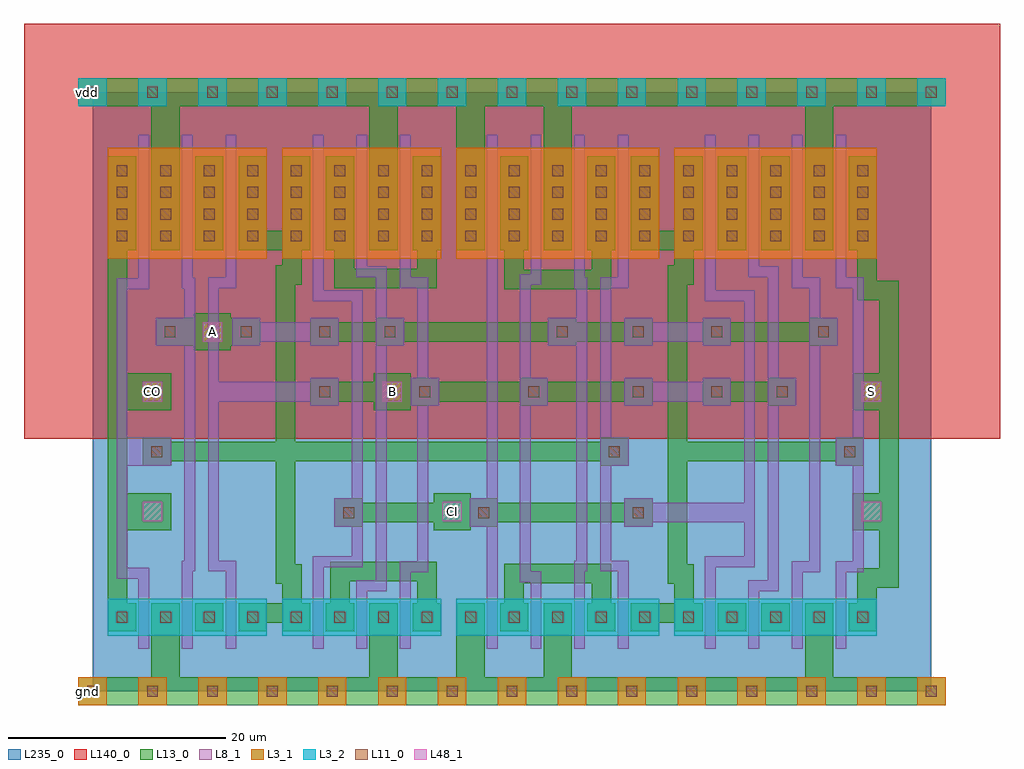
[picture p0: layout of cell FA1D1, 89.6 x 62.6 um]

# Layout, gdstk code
import gdstk
lib = gdstk.Library(unit=1e-6, precision=1e-09)
def R(c, l, rs):  # rectangles x0, y0, x1, y1
    for r in rs: c.add(gdstk.rectangle(r[:2], r[2:], *l))
def A(c, l, x, y, w, h, nx, ny, dx, dy):  # array of equal rectangles
    R(c, l, [(x+i*dx, y+j*dy, x+i*dx+w, y+j*dy+h) for i in range(nx) for j in range(ny)])
L3_1 = (3, 1)
L3_2 = (3, 2)
L8_1 = (8, 1)
L11_0 = (11, 0)
L13_0 = (13, 0)
L48_1 = (48, 1)
L140_0 = (140, 0)
L235_0 = (235, 0)

cont_n = lib.new_cell('cont_n')
R(cont_n, L3_2, [(-1.3,-1.3,1.3,1.3)])
R(cont_n, L11_0, [(-0.5,-0.5,0.5,0.5)])
R(cont_n, L13_0, [(-1.3,-1.3,1.3,1.3)])

cont_p = lib.new_cell('cont_p')
R(cont_p, L3_1, [(-1.3,-1.3,1.3,1.3)])
R(cont_p, L11_0, [(-0.5,-0.5,0.5,0.5)])
R(cont_p, L13_0, [(-1.3,-1.3,1.3,1.3)])

fet_n = lib.new_cell('fet_n')
R(fet_n, L3_2, [(-7.3,-1.7,7.3,1.7)])
A(fet_n, L11_0, -6.5, -0.5, 1, 1, 4, 1, 4, 0)
A(fet_n, L13_0, -7.3, -1.3, 2.6, 2.6, 4, 1, 4, 0)
fet_n.add(gdstk.FlexPath([(0,-2.9),(0,2.9)], 1, ends="flush", simple_path=True, layer=8, datatype=1))  # L8_1
fet_n.add(gdstk.FlexPath([(-4,-2.9),(-4,2.9)], 1, ends="flush", simple_path=True, layer=8, datatype=1))  # L8_1
fet_n.add(gdstk.FlexPath([(4,-2.9),(4,2.9)], 1, ends="flush", simple_path=True, layer=8, datatype=1))  # L8_1

cont_g = lib.new_cell('cont_g')
R(cont_g, L8_1, [(-1.3,-1.3,1.3,1.3)])
R(cont_g, L11_0, [(-0.5,-0.5,0.5,0.5)])
R(cont_g, L13_0, [(-1.3,-1.3,1.3,1.3)])

fet_p = lib.new_cell('fet_p')
R(fet_p, L3_1, [(-7.3,-5.1,7.3,5.1)])
A(fet_p, L11_0, -6.5, -3.5, 1, 1, 4, 4, 4, 2)
A(fet_p, L13_0, -7.3, -4.3, 2.6, 8.6, 4, 1, 4, 0)
fet_p.add(gdstk.FlexPath([(0,-6.3),(0,6.3)], 1, ends="flush", simple_path=True, layer=8, datatype=1))  # L8_1
fet_p.add(gdstk.FlexPath([(-4,-6.3),(-4,6.3)], 1, ends="flush", simple_path=True, layer=8, datatype=1))  # L8_1
fet_p.add(gdstk.FlexPath([(4,-6.3),(4,6.3)], 1, ends="flush", simple_path=True, layer=8, datatype=1))  # L8_1

fet_p_5 = lib.new_cell('fet_p$5')
R(fet_p_5, L3_1, [(-9.3,-5.1,9.3,5.1)])
A(fet_p_5, L11_0, -8.5, -3.5, 1, 1, 5, 4, 4, 2)
A(fet_p_5, L13_0, -9.3, -4.3, 2.6, 8.6, 5, 1, 4, 0)
fet_p_5.add(gdstk.FlexPath([(2,-6.3),(2,6.3)], 1, ends="flush", simple_path=True, layer=8, datatype=1))  # L8_1
fet_p_5.add(gdstk.FlexPath([(-2,-6.3),(-2,6.3)], 1, ends="flush", simple_path=True, layer=8, datatype=1))  # L8_1
fet_p_5.add(gdstk.FlexPath([(6,-6.3),(6,6.3)], 1, ends="flush", simple_path=True, layer=8, datatype=1))  # L8_1
fet_p_5.add(gdstk.FlexPath([(-6,-6.3),(-6,6.3)], 1, ends="flush", simple_path=True, layer=8, datatype=1))  # L8_1

fet_n_5 = lib.new_cell('fet_n$5')
R(fet_n_5, L3_2, [(-9.3,-1.7,9.3,1.7)])
A(fet_n_5, L11_0, -8.5, -0.5, 1, 1, 5, 1, 4, 0)
A(fet_n_5, L13_0, -9.3, -1.3, 2.6, 2.6, 5, 1, 4, 0)
fet_n_5.add(gdstk.FlexPath([(2,-2.9),(2,2.9)], 1, ends="flush", simple_path=True, layer=8, datatype=1))  # L8_1
fet_n_5.add(gdstk.FlexPath([(-2,-2.9),(-2,2.9)], 1, ends="flush", simple_path=True, layer=8, datatype=1))  # L8_1
fet_n_5.add(gdstk.FlexPath([(6,-2.9),(6,2.9)], 1, ends="flush", simple_path=True, layer=8, datatype=1))  # L8_1
fet_n_5.add(gdstk.FlexPath([(-6,-2.9),(-6,2.9)], 1, ends="flush", simple_path=True, layer=8, datatype=1))  # L8_1

fa1d1 = lib.new_cell('FA1D1')
R(fa1d1, L8_1, [(3.2,20.7,4.6,23.3)])
R(fa1d1, L13_0, [(3.2,14.8,3.8,18.2), (3.8,14.8,7.2,18.2), (3.8,14.8,7.2,18.2), (31.3,14.8,34.7,18.2), (31.3,14.8,34.7,18.2), (69.8,14.8,73.2,18.2), (69.8,14.8,73.2,18.2), (3.2,25.8,3.8,29.2), (3.8,25.8,7.2,29.2), (3.8,25.8,7.2,29.2), (25.8,25.8,29.2,29.2), (25.8,25.8,29.2,29.2), (69.8,25.8,73.2,29.2), (69.8,25.8,73.2,29.2), (9.3,31.3,12.7,34.7), (9.3,31.3,12.7,34.7), (8.4,31.7,12.8,34.3)])
R(fa1d1, L48_1, [(4.6,15.6,6.4,17.4), (4.6,15.6,6.4,17.4), (32.1,15.6,33.9,17.4), (32.1,15.6,33.9,17.4), (70.6,15.6,72.4,17.4), (70.6,15.6,72.4,17.4), (4.6,26.6,6.4,28.4), (4.6,26.6,6.4,28.4), (26.6,26.6,28.4,28.4), (26.6,26.6,28.4,28.4), (70.6,26.6,72.4,28.4), (70.6,26.6,72.4,28.4), (10.1,32.1,11.9,33.9), (10.1,32.1,11.9,33.9)])
R(fa1d1, L140_0, [(-6.3,23.2,83.3,61.3)])
R(fa1d1, L235_0, [(0,0,77,55)])
fa1d1.add(gdstk.FlexPath([(8.7,38.5),(8.7,37.45),(8.9,37.45),(8.9,11.5),(8.7,11.5),(8.7,9.7)], 1, ends="extended", simple_path=True, layer=8, datatype=1))  # L8_1
fa1d1.add(gdstk.FlexPath([(12.7,38.5),(12.7,37.5),(11.1,37.5),(11.1,11.5),(12.7,11.5),(12.7,9.65)], 1, ends="extended", simple_path=True, layer=8, datatype=1))  # L8_1
fa1d1.add(gdstk.FlexPath([(20.7,38.5),(20.7,36.3),(24.3,36.3),(24.3,11.9),(20.7,11.9),(20.7,9.7)], 1, ends="extended", simple_path=True, layer=8, datatype=1))  # L8_1
fa1d1.add(gdstk.FlexPath([(24.7,38.5),(26.5,38.5),(26.5,9.7),(24.7,9.7)], 1, ends="extended", simple_path=True, layer=8, datatype=1))  # L8_1
fa1d1.add(gdstk.FlexPath([(48.7,38.5),(48.7,37.5),(47.1,37.5),(47.1,11.5),(48.7,11.5),(48.7,9.65)], 1, ends="extended", simple_path=True, layer=8, datatype=1))  # L8_1
fa1d1.add(gdstk.FlexPath([(56.7,38.5),(56.7,36.3),(60.3,36.3),(60.3,11.9),(56.7,11.9),(56.7,9.7)], 1, ends="extended", simple_path=True, layer=8, datatype=1))  # L8_1
fa1d1.add(gdstk.FlexPath([(60.7,38.5),(62.5,38.5),(62.5,9.7),(60.7,9.7)], 1, ends="extended", simple_path=True, layer=8, datatype=1))  # L8_1
fa1d1.add(gdstk.FlexPath([(64.7,38.5),(64.7,37.5),(66.3,37.5),(66.3,11.45),(64.7,11.45),(64.7,9.7)], 1, ends="extended", simple_path=True, layer=8, datatype=1))  # L8_1
fa1d1.add(gdstk.FlexPath([(68.7,38.5),(68.7,37.5),(70.3,37.5),(70.3,11.45),(68.7,11.45),(68.7,9.7)], 1, ends="extended", simple_path=True, layer=8, datatype=1))  # L8_1
fa1d1.add(gdstk.FlexPath([(44.7,38.5),(44.7,37.45),(44.9,37.45),(44.9,11.5),(44.7,11.5),(44.7,9.7)], 1, ends="extended", simple_path=True, layer=8, datatype=1))  # L8_1
fa1d1.add(gdstk.FlexPath([(14.1,33),(21.3,33)], 1.8, ends="extended", simple_path=True, layer=8, datatype=1))  # L8_1
fa1d1.add(gdstk.FlexPath([(21.3,27.5),(11.5,27.5)], 1.8, ends="extended", simple_path=True, layer=8, datatype=1))  # L8_1
fa1d1.add(gdstk.FlexPath([(50.1,33),(57.3,33)], 1.8, ends="extended", simple_path=True, layer=8, datatype=1))  # L8_1
fa1d1.add(gdstk.FlexPath([(50.1,27.5),(57.3,27.5)], 1.8, ends="extended", simple_path=True, layer=8, datatype=1))  # L8_1
fa1d1.add(gdstk.FlexPath([(36.7,38.5),(36.7,9.7)], 1, ends="extended", simple_path=True, layer=8, datatype=1))  # L8_1
fa1d1.add(gdstk.FlexPath([(40.7,38.5),(40.7,37.8),(39.7,37.8),(39.7,10.5),(40.7,10.5),(40.7,9.7)], 1, ends="extended", simple_path=True, layer=8, datatype=1))  # L8_1
fa1d1.add(gdstk.FlexPath([(50.1,16.4),(59.9,16.4)], 1.8, ends="extended", simple_path=True, layer=8, datatype=1))  # L8_1
fa1d1.add(gdstk.FlexPath([(28.7,38.5),(28.7,37.5),(30.3,37.5),(30.3,11.45),(28.7,11.45),(28.7,9.7)], 1, ends="extended", simple_path=True, layer=8, datatype=1))  # L8_1
fa1d1.add(gdstk.FlexPath([(4.7,38.5),(4.7,37.4),(2.7,37.4),(2.7,10.85),(4.7,10.85),(4.7,9.7)], 1, ends="extended", simple_path=True, layer=8, datatype=1))  # L8_1
fa1d1.add(gdstk.FlexPath([(18.3,41.75),(18.3,38.2),(17.7,38.2),(17.7,10.75),(18.3,10.75),(18.3,6.85)], 1.8, ends="extended", simple_path=True, layer=13, datatype=0))  # L13_0
fa1d1.add(gdstk.FlexPath([(14.7,41.4),(18.7,41.4)], 1.8, ends="extended", simple_path=True, layer=13, datatype=0))  # L13_0
fa1d1.add(gdstk.FlexPath([(14.7,7.2),(18.7,7.2)], 1.8, ends="extended", simple_path=True, layer=13, datatype=0))  # L13_0
fa1d1.add(gdstk.FlexPath([(34.7,47.8),(34.7,55)], 2.6, ends="extended", simple_path=True, layer=13, datatype=0))  # L13_0
fa1d1.add(gdstk.FlexPath([(34.7,6.8),(34.7,0)], 2.6, ends="extended", simple_path=True, layer=13, datatype=0))  # L13_0
fa1d1.add(gdstk.FlexPath([(38.7,41.7),(38.7,37.8),(46.7,37.8),(46.7,41.7)], 1.8, ends="extended", simple_path=True, layer=13, datatype=0))  # L13_0
fa1d1.add(gdstk.FlexPath([(38.7,6.8),(38.7,10.8),(46.7,10.8),(46.7,6.8)], 1.8, ends="extended", simple_path=True, layer=13, datatype=0))  # L13_0
fa1d1.add(gdstk.FlexPath([(50.7,41.4),(54.7,41.4)], 1.8, ends="extended", simple_path=True, layer=13, datatype=0))  # L13_0
fa1d1.add(gdstk.FlexPath([(54.3,41.8),(54.3,38.2),(53.7,38.2),(53.7,10.75),(54.3,10.75),(54.3,6.8)], 1.8, ends="extended", simple_path=True, layer=13, datatype=0))  # L13_0
fa1d1.add(gdstk.FlexPath([(50.7,7.2),(54.7,7.2)], 1.8, ends="extended", simple_path=True, layer=13, datatype=0))  # L13_0
fa1d1.add(gdstk.FlexPath([(71.1,41.8),(71.1,36.8),(73.1,36.8),(73.1,10.4),(71.1,10.4),(71.1,6.8)], 1.8, ends="extended", simple_path=True, layer=13, datatype=0))  # L13_0
fa1d1.add(gdstk.FlexPath([(66.7,47.8),(66.7,55)], 2.6, ends="extended", simple_path=True, layer=13, datatype=0))  # L13_0
fa1d1.add(gdstk.FlexPath([(66.7,6.8),(66.7,0)], 2.6, ends="extended", simple_path=True, layer=13, datatype=0))  # L13_0
fa1d1.add(gdstk.FlexPath([(5.9,22),(47.9,22)], 1.8, ends="extended", simple_path=True, layer=13, datatype=0))  # L13_0
fa1d1.add(gdstk.FlexPath([(69.5,22),(53.7,22)], 1.8, ends="extended", simple_path=True, layer=13, datatype=0))  # L13_0
fa1d1.add(gdstk.FlexPath([(42.7,47.8),(42.7,55)], 2.6, ends="extended", simple_path=True, layer=13, datatype=0))  # L13_0
fa1d1.add(gdstk.FlexPath([(42.7,6.8),(42.7,0)], 2.6, ends="extended", simple_path=True, layer=13, datatype=0))  # L13_0
fa1d1.add(gdstk.FlexPath([(23.5,16.4),(50.1,16.4)], 1.8, ends="extended", simple_path=True, layer=13, datatype=0))  # L13_0
fa1d1.add(gdstk.FlexPath([(2.3,41.75),(2.3,6.8)], 1.8, ends="extended", simple_path=True, layer=13, datatype=0))  # L13_0
fa1d1.add(gdstk.FlexPath([(0.85,55),(77,55)], 2.6, ends="extended", simple_path=True, layer=13, datatype=0))  # L13_0
fa1d1.add(gdstk.FlexPath([(0.85,0),(77,0)], 2.6, ends="extended", simple_path=True, layer=13, datatype=0))  # L13_0
fa1d1.add(gdstk.FlexPath([(21.4,33),(50.1,33)], 1.8, ends="extended", simple_path=True, layer=13, datatype=0))  # L13_0
fa1d1.add(gdstk.FlexPath([(50.1,27.5),(21.3,27.5)], 1.8, ends="extended", simple_path=True, layer=13, datatype=0))  # L13_0
fa1d1.add(gdstk.FlexPath([(57.3,27.5),(63.3,27.5)], 1.8, ends="extended", simple_path=True, layer=13, datatype=0))  # L13_0
fa1d1.add(gdstk.FlexPath([(57.3,33),(67.1,33)], 1.8, ends="extended", simple_path=True, layer=13, datatype=0))  # L13_0
fa1d1.add(gdstk.FlexPath([(26.7,47.75),(26.7,55)], 2.6, ends="extended", simple_path=True, layer=13, datatype=0))  # L13_0
fa1d1.add(gdstk.FlexPath([(26.7,6.8),(26.7,0)], 2.6, ends="extended", simple_path=True, layer=13, datatype=0))  # L13_0
fa1d1.add(gdstk.FlexPath([(23.1,41.8),(23.1,37.9),(30.7,37.9),(30.7,41.8)], 1.8, ends="extended", simple_path=True, layer=13, datatype=0))  # L13_0
fa1d1.add(gdstk.FlexPath([(22.7,6.8),(22.7,11),(30.7,11),(30.7,6.9)], 1.8, ends="extended", simple_path=True, layer=13, datatype=0))  # L13_0
fa1d1.add(gdstk.FlexPath([(6.7,47.8),(6.7,55)], 2.6, ends="extended", simple_path=True, layer=13, datatype=0))  # L13_0
fa1d1.add(gdstk.FlexPath([(6.7,6.8),(6.7,0)], 2.6, ends="extended", simple_path=True, layer=13, datatype=0))  # L13_0
fa1d1.add(gdstk.Reference(cont_n, (0,55)))
fa1d1.add(gdstk.Reference(cont_n, (5.5,55)))
fa1d1.add(gdstk.Reference(cont_n, (11,55)))
fa1d1.add(gdstk.Reference(cont_n, (16.5,55)))
fa1d1.add(gdstk.Reference(cont_p, (0,0)))
fa1d1.add(gdstk.Reference(cont_p, (5.5,0)))
fa1d1.add(gdstk.Reference(cont_p, (11,0)))
fa1d1.add(gdstk.Reference(cont_p, (16.5,0)))
fa1d1.add(gdstk.Reference(fet_n, (8.7,6.8)))
fa1d1.add(gdstk.Reference(cont_g, (63.3,27.5)))
fa1d1.add(gdstk.Reference(cont_g, (5.9,22)))
fa1d1.add(gdstk.Reference(cont_g, (30.5,27.5)))
fa1d1.add(gdstk.Reference(fet_p, (8.7,44.8)))
fa1d1.add(gdstk.Reference(fet_p, (24.7,44.8)))
fa1d1.add(gdstk.Reference(fet_n, (24.7,6.8)))
fa1d1.add(gdstk.Reference(cont_g, (7.1,33)))
fa1d1.add(gdstk.Reference(cont_g, (14.1,33)))
fa1d1.add(gdstk.Reference(cont_g, (23.5,16.4)))
fa1d1.add(gdstk.Reference(cont_g, (21.3,27.5)))
fa1d1.add(gdstk.Reference(cont_g, (27.3,33)))
fa1d1.add(gdstk.Reference(cont_g, (21.3,33)))
fa1d1.add(gdstk.Reference(fet_p_5, (42.7,44.8)))
fa1d1.add(gdstk.Reference(fet_n_5, (42.7,6.8)))
fa1d1.add(gdstk.Reference(cont_g, (50.1,27.5)))
fa1d1.add(gdstk.Reference(cont_g, (50.1,33)))
fa1d1.add(gdstk.Reference(cont_g, (57.3,27.5)))
fa1d1.add(gdstk.Reference(cont_g, (67.1,33)))
fa1d1.add(gdstk.Reference(cont_g, (57.3,33)))
fa1d1.add(gdstk.Reference(fet_n_5, (42.7,6.8)))
fa1d1.add(gdstk.Reference(fet_p_5, (42.7,44.8)))
fa1d1.add(gdstk.Reference(fet_n_5, (62.7,6.8)))
fa1d1.add(gdstk.Reference(fet_p_5, (62.7,44.8)))
fa1d1.add(gdstk.Reference(cont_n, (77,55)))
fa1d1.add(gdstk.Reference(cont_p, (77,0)))
fa1d1.add(gdstk.Reference(cont_g, (69.5,22)))
fa1d1.add(gdstk.Reference(cont_g, (43.1,33)))
fa1d1.add(gdstk.Reference(cont_g, (50.1,16.4)))
fa1d1.add(gdstk.Reference(cont_g, (35.9,16.4)))
fa1d1.add(gdstk.Reference(cont_g, (47.9,22)))
fa1d1.add(gdstk.Reference(cont_g, (40.5,27.5)))
fa1d1.add(gdstk.Reference(cont_n, (22,55)))
fa1d1.add(gdstk.Reference(cont_p, (22,0)))
fa1d1.add(gdstk.Reference(cont_n, (27.5,55)))
fa1d1.add(gdstk.Reference(cont_p, (27.5,0)))
fa1d1.add(gdstk.Reference(cont_n, (33,55)))
fa1d1.add(gdstk.Reference(cont_p, (33,0)))
fa1d1.add(gdstk.Reference(cont_n, (38.5,55)))
fa1d1.add(gdstk.Reference(cont_p, (38.5,0)))
fa1d1.add(gdstk.Reference(cont_n, (44,55)))
fa1d1.add(gdstk.Reference(cont_p, (44,0)))
fa1d1.add(gdstk.Reference(cont_n, (49.5,55)))
fa1d1.add(gdstk.Reference(cont_p, (49.5,0)))
fa1d1.add(gdstk.Reference(cont_n, (55,55)))
fa1d1.add(gdstk.Reference(cont_p, (55,0)))
fa1d1.add(gdstk.Reference(cont_n, (60.5,55)))
fa1d1.add(gdstk.Reference(cont_p, (60.5,0)))
fa1d1.add(gdstk.Reference(cont_n, (66,55)))
fa1d1.add(gdstk.Reference(cont_p, (66,0)))
fa1d1.add(gdstk.Reference(cont_n, (71.5,55)))
fa1d1.add(gdstk.Reference(cont_p, (71.5,0)))
fa1d1.add(gdstk.Label('B', (27.5,27.5), layer=48, texttype=0))
fa1d1.add(gdstk.Label('CO', (5.5,27.5), layer=48, texttype=0))
fa1d1.add(gdstk.Label('A', (11,33), layer=48, texttype=0))
fa1d1.add(gdstk.Label('CI', (33,16.5), layer=48, texttype=0))
fa1d1.add(gdstk.Label('S', (71.5,27.5), layer=48, texttype=0))
fa1d1.add(gdstk.Label('gnd', (-0.5,0), layer=48, texttype=0))
fa1d1.add(gdstk.Label('vdd', (-0.5,55), layer=48, texttype=0))

lib.write_gds('FA1D1.gds')
